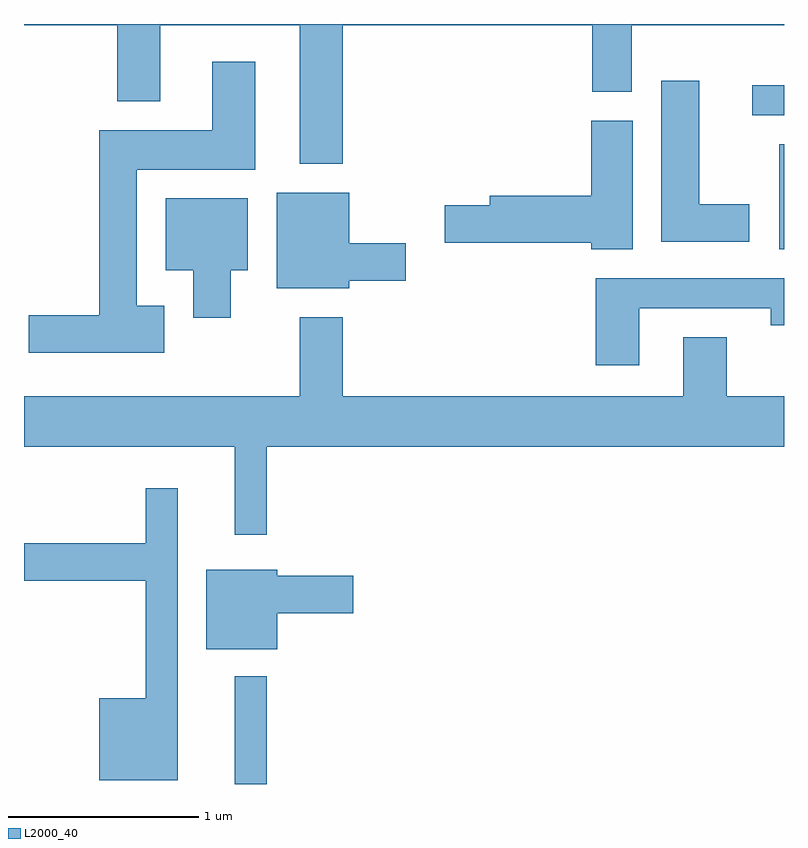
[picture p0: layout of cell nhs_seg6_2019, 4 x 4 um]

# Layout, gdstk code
import gdstk
lib = gdstk.Library(unit=1e-6, precision=1e-09)
def R(c, l, rs):  # rectangles x0, y0, x1, y1
    for r in rs: c.add(gdstk.rectangle(r[:2], r[2:], *l))
def P(c, l, *ps):  # polygons
    for p in ps: c.add(gdstk.Polygon(p, *l))
L2000_40 = (2000, 40)

nhs_seg6_2019 = lib.new_cell('nhs_seg6_2019')
R(nhs_seg6_2019, L2000_40, [(246.721,1648.162,246.889,1648.728), (249.586,1650.976,249.611,1651.529), (249.443,1651.681,249.611,1651.839)])
P(nhs_seg6_2019, L2000_40, [(245.611,1652.156),(246.101,1652.156),(246.101,1651.756),(246.329,1651.756),(246.329,1652.156),(247.061,1652.156),(247.061,1651.426),(247.289,1651.426),(247.289,1652.156),(248.601,1652.156),(248.601,1651.806),(248.809,1651.806),(248.809,1652.156),(249.611,1652.156),(249.611,1652.162),(245.611,1652.162)],
  [(246.349,1650.679),(246.204,1650.679),(246.204,1651.396),(246.829,1651.396),(246.829,1651.964),(246.601,1651.964),(246.601,1651.604),(246.006,1651.604),(246.006,1650.629),(245.636,1650.629),(245.636,1650.431),(246.349,1650.431)],
  [(249.429,1651.214),(249.164,1651.214),(249.164,1651.864),(248.966,1651.864),(248.966,1651.016),(249.429,1651.016)],
  [(248.814,1651.654),(248.596,1651.654),(248.596,1651.259),(248.061,1651.259),(248.061,1651.209),(247.826,1651.209),(247.826,1651.011),(248.596,1651.011),(248.596,1650.976),(248.814,1650.976)],
  [(247.324,1650.811),(247.619,1650.811),(247.619,1651.009),(247.324,1651.009),(247.324,1651.274),(246.941,1651.274),(246.941,1650.771),(247.324,1650.771)],
  [(246.699,1650.866),(246.789,1650.866),(246.789,1651.244),(246.356,1651.244),(246.356,1650.866),(246.501,1650.866),(246.501,1650.616),(246.699,1650.616)],
  [(248.849,1650.666),(249.541,1650.666),(249.541,1650.576),(249.611,1650.576),(249.611,1650.824),(248.621,1650.824),(248.621,1650.366),(248.849,1650.366)],
  [(246.889,1649.936),(249.611,1649.936),(249.611,1650.204),(249.309,1650.204),(249.309,1650.514),(249.081,1650.514),(249.081,1650.204),(247.289,1650.204),(247.289,1650.619),(247.061,1650.619),(247.061,1650.204),(245.611,1650.204),(245.611,1649.936),(246.721,1649.936),(246.721,1649.473),(246.889,1649.473)],
  [(246.419,1649.718),(246.251,1649.718),(246.251,1649.429),(245.611,1649.429),(245.611,1649.231),(246.251,1649.231),(246.251,1648.614),(246.006,1648.614),(246.006,1648.181),(246.419,1648.181)],
  [(246.944,1649.061),(247.344,1649.061),(247.344,1649.259),(246.944,1649.259),(246.944,1649.289),(246.571,1649.289),(246.571,1648.871),(246.944,1648.871)])

lib.write_gds('nhs_seg6_2019.gds')
